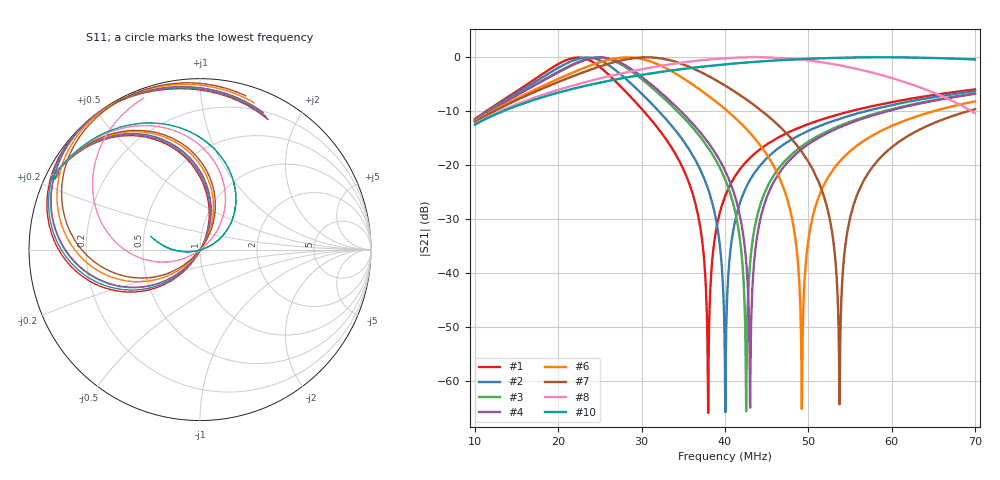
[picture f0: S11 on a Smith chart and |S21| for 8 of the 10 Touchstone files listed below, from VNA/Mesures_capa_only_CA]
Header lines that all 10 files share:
#  HZ  S  RI  R  50.00
! Rohde & Schwarz ZVT8 8Ports - Version 4.11 - 1300.0000k08 SN: 100242
! Measurements: S11 S21 S12 S22
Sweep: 10 MHz to 70 MHz
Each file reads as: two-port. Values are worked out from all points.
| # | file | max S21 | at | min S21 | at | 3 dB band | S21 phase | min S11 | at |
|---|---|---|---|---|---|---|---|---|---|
| 1 | meas_capa_10p00.s2p | -0.10 dB | 22.36 MHz | -65.9 dB | 37.98 MHz | 18.16 MHz-25.9 MHz | 37 deg at 40 MHz | -51.6 dB | 22.36 MHz |
| 2 | meas_capa_15p00.s2p | -0.09 dB | 23.46 MHz | -65.7 dB | 40.04 MHz | 18.82 MHz-27.36 MHz | -111 deg at 40 MHz | -52.4 dB | 23.44 MHz |
| 3 | meas_capa_20p00.s2p | -0.09 dB | 24.82 MHz | -65.5 dB | 42.54 MHz | 19.58 MHz-29.16 MHz | -134 deg at 40 MHz | -54.9 dB | 24.78 MHz |
| 4 | meas_capa_20p60.s2p | -0.08 dB | 25.06 MHz | -64.9 dB | 43.02 MHz | 19.72 MHz-29.5 MHz | -134 deg at 40 MHz | -57.7 dB | 25.02 MHz |
| 5 | meas_capa_25p00.s2p | -0.08 dB | 26.36 MHz | -64.8 dB | 45.52 MHz | 20.46 MHz-31.34 MHz | -129 deg at 40 MHz | -55.0 dB | 26.34 MHz |
| 6 | meas_capa_30p00.s2p | -0.07 dB | 28.2 MHz | -65.1 dB | 49.22 MHz | 21.46 MHz-34.06 MHz | -120 deg at 40 MHz | -64.3 dB | 28.28 MHz |
| 7 | meas_capa_35p00.s2p | -0.06 dB | 30.66 MHz | -64.2 dB | 53.74 MHz | 22.62 MHz-37.44 MHz | -106 deg at 40 MHz | -58.1 dB | 30.62 MHz |
| 8 | meas_capa_50p00.s2p | -0.06 dB | 43.56 MHz | -12.4 dB | 10 MHz | 27.56 MHz-58.06 MHz | -37 deg at 40 MHz | -57.2 dB | 43.74 MHz |
| 9 | meas_capa_55p00.s2p | -0.07 dB | 52.96 MHz | -12.5 dB | 10 MHz | 29.82 MHz-70 MHz | -23 deg at 40 MHz | -47.2 dB | 52.7 MHz |
| 10 | meas_capa_58p00.s2p | -0.06 dB | 58.74 MHz | -12.5 dB | 10 MHz | 31.02 MHz-70 MHz | -18 deg at 40 MHz | -54.0 dB | 58.78 MHz |
